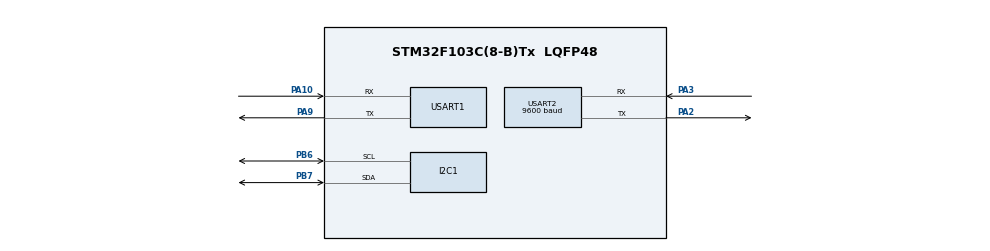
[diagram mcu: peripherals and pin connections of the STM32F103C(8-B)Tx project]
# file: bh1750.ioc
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Mcu.Family=STM32F1
Mcu.Name=STM32F103C(8-B)Tx
Mcu.Package=LQFP48
NVIC.PriorityGroup=NVIC_PRIORITYGROUP_4
NVIC.USART2_IRQn=true\:0\:0\:false\:false\:true\:true\:true\:true
PA10.Mode=Asynchronous
PA10.Signal=USART1_RX
PA13.Mode=Serial_Wire
PA13.Signal=SYS_JTMS-SWDIO
PA14.Mode=Serial_Wire
PA14.Signal=SYS_JTCK-SWCLK
PA2.Mode=Asynchronous
PA2.Signal=USART2_TX
PA3.Mode=Asynchronous
PA3.Signal=USART2_RX
PA9.Mode=Asynchronous
PA9.Signal=USART1_TX
PB6.Mode=I2C
PB6.Signal=I2C1_SCL
PB7.Mode=I2C
PB7.Signal=I2C1_SDA
PD0-OSC_IN.Mode=HSE-External-Oscillator
PD0-OSC_IN.Signal=RCC_OSC_IN
PD1-OSC_OUT.Mode=HSE-External-Oscillator
PD1-OSC_OUT.Signal=RCC_OSC_OUT
ProjectManager.HeapSize=0x200
ProjectManager.StackSize=0x400
ProjectManager.TargetToolchain=MDK-ARM V5.32
RCC.APB1Freq_Value=8000000
RCC.APB2Freq_Value=8000000
USART1.VirtualMode=VM_ASYNC
USART2.BaudRate=9600
USART2.VirtualMode=VM_ASYNC
board=custom

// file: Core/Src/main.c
/* USER CODE BEGIN Header */
/**
  ******************************************************************************
  * @file           : main.c
  * @brief          : Node 2 - BH1750 Light Sensor - LoRa Gateway Protocol
  ******************************************************************************
  */
/* USER CODE END Header */
#include "main.h"

/* USER CODE BEGIN Includes */
#include "stdarg.h"
#include "string.h"
#include "stdio.h"
/* USER CODE END Includes */

/* USER CODE BEGIN PTD */
#define BH1750_ADDRESS      (0x23 << 1)   // ADDR pin = LOW
#define BH1750_POWER_ON     0x01
#define BH1750_RESET        0x07
#define BH1750_CONT_HI_RES  0x10          // Che do do lien tuc, do phan giai cao (1 lux)
/* USER CODE END PTD */

/* USER CODE BEGIN PD */
#define NODE_ID  2   // <-- Day la Node 2 (BH1750)
/* USER CODE END PD */

I2C_HandleTypeDef hi2c1;
UART_HandleTypeDef huart1;
UART_HandleTypeDef huart2;

void SystemClock_Config(void);
static void MX_GPIO_Init(void);
static void MX_USART1_UART_Init(void);
static void MX_USART2_UART_Init(void);
static void MX_I2C1_Init(void);
/* USER CODE BEGIN PFP */

/* ---------- Debug print qua UART1 (Serial monitor may tinh) ---------- */
char buff[60];
void mPrint(const char* format, ...) {
    va_list args;
    va_start(args, format);
    vsnprintf(buff, sizeof(buff), format, args);
    va_end(args);
    HAL_UART_Transmit(&huart1, (uint8_t*)buff, strlen(buff), 1000);
}

/* ---------- BH1750 functions ---------- */
void BH1750_Init(void) {
    uint8_t cmd;
    cmd = BH1750_POWER_ON;
    HAL_I2C_Master_Transmit(&hi2c1, BH1750_ADDRESS, &cmd, 1, HAL_MAX_DELAY);
    HAL_Delay(10);
    cmd = BH1750_CONT_HI_RES;
    HAL_I2C_Master_Transmit(&hi2c1, BH1750_ADDRESS, &cmd, 1, HAL_MAX_DELAY);
    HAL_Delay(150);  // Cho lan do dau tien hoan thanh (~120ms)
}

float BH1750_ReadLight(void) {
    uint8_t buffer[2] = {0, 0};
    if (HAL_I2C_Master_Receive(&hi2c1, BH1750_ADDRESS, buffer, 2, 100) == HAL_OK) {
        uint16_t val = (buffer[0] << 8) | buffer[1];
        return (float)val / 1.2f;
    }
    return -1.0f;
}

/* USER CODE END PFP */

/* USER CODE BEGIN 0 */

/* ---------- Bien phuc vu nhan lenh tu Gateway qua UART2 (LoRa) ---------- */
uint8_t rx_byte;          // Nhan tung byte mot qua ngat
char    rx_buffer[20];    // Buffer rap chuoi lenh (VD: "GET_N2")
uint8_t rx_index  = 0;
uint8_t cmd_ready = 0;    // Co bao hieu da nhan xong mot lenh

char    lora_tx_buffer[30]; // Buffer gui phan hoi

/* USER CODE END 0 */

int main(void)
{

  HAL_Init();

  SystemClock_Config();

  MX_GPIO_Init();
  MX_USART1_UART_Init();
  MX_USART2_UART_Init();
  MX_I2C1_Init();

  /* USER CODE BEGIN 2 */
  BH1750_Init();

  // Bat ngat UART2 de lang nghe lenh tu Gateway
  HAL_UART_Receive_IT(&huart2, &rx_byte, 1);
  mPrint("Node %d (BH1750) Ready. Listening for Gateway...\r\n", NODE_ID);
  /* USER CODE END 2 */

  /* Infinite loop */
  /* USER CODE BEGIN WHILE */
  while (1)
  {
      // Neu co lenh gui den tu Gateway
      if (cmd_ready == 1)
      {
          cmd_ready = 0; // Tat co de tranh xu ly lap lai

          // Tao chuoi lenh mong doi (Node 2 mong nhan "GET_N2")
          char expected_cmd[12];
          sprintf(expected_cmd, "GET_N%d", NODE_ID);

          // Kiem tra lenh co dung ten minh khong (dung strstr de an toan)
          if (strstr(rx_buffer, expected_cmd) != NULL)
          {
              mPrint("Gateway goi: %s. Dang doc cam bien...\r\n", rx_buffer);

              // Doc cam bien BH1750
              float lux = BH1750_ReadLight();

              // Neu doc loi, thu reset va doc lai 1 lan
              if (lux < 0) {
                  mPrint("Loi BH1750, dang reset I2C...\r\n");
                  HAL_I2C_DeInit(&hi2c1);
                  HAL_Delay(10);
                  MX_I2C1_Init();
                  BH1750_Init();
                  lux = BH1750_ReadLight();
              }

              // Dong goi du lieu va gui tra qua UART2 (LoRa)
              // Dinh dang: N2,<lux>\n
              // Vi STM32 co the tat float trong sprintf, ep kieu sang int
              int lux_i = (lux >= 0) ? (int)lux : -1;
              int lux_d = (lux >= 0) ? (int)((lux - lux_i) * 10) : 0;

              if (lux >= 0) {
                  sprintf(lora_tx_buffer, "N%d,%d.%d\n", NODE_ID, lux_i, lux_d);
              } else {
                  sprintf(lora_tx_buffer, "N%d,-1\n", NODE_ID);
              }

              HAL_UART_Transmit(&huart2, (uint8_t*)lora_tx_buffer, strlen(lora_tx_buffer), 1000);
              mPrint("Da gui: %s\r\n", lora_tx_buffer);
          }
          else
          {
              mPrint("Bo qua lenh: %s (Khong phai toi)\r\n", rx_buffer);
          }

          // Reset buffer chuan bi don lenh tiep theo
          rx_index = 0;
          memset(rx_buffer, 0, sizeof(rx_buffer));
      }

      // STM32 co the lam viec khac o day
      // Viec nhan LoRa da duoc ngat xu ly ngam
    /* USER CODE END WHILE */

  }
}

void SystemClock_Config(void)
{
  RCC_OscInitTypeDef RCC_OscInitStruct = {0};
  RCC_ClkInitTypeDef RCC_ClkInitStruct = {0};

  RCC_OscInitStruct.OscillatorType = RCC_OSCILLATORTYPE_HSI;
  RCC_OscInitStruct.HSIState = RCC_HSI_ON;
  RCC_OscInitStruct.HSICalibrationValue = RCC_HSICALIBRATION_DEFAULT;
  RCC_OscInitStruct.PLL.PLLState = RCC_PLL_NONE;
  if (HAL_RCC_OscConfig(&RCC_OscInitStruct) != HAL_OK)
  {
    Error_Handler();
  }

  RCC_ClkInitStruct.ClockType = RCC_CLOCKTYPE_HCLK|RCC_CLOCKTYPE_SYSCLK
                              |RCC_CLOCKTYPE_PCLK1|RCC_CLOCKTYPE_PCLK2;
  RCC_ClkInitStruct.SYSCLKSource = RCC_SYSCLKSOURCE_HSI;
  RCC_ClkInitStruct.AHBCLKDivider = RCC_SYSCLK_DIV1;
  RCC_ClkInitStruct.APB1CLKDivider = RCC_HCLK_DIV1;
  RCC_ClkInitStruct.APB2CLKDivider = RCC_HCLK_DIV1;

  if (HAL_RCC_ClockConfig(&RCC_ClkInitStruct, FLASH_LATENCY_0) != HAL_OK)
  {
    Error_Handler();
  }
}

static void MX_I2C1_Init(void)
{
  hi2c1.Instance = I2C1;
  hi2c1.Init.ClockSpeed = 100000;
  hi2c1.Init.DutyCycle = I2C_DUTYCYCLE_2;
  hi2c1.Init.OwnAddress1 = 0;
  hi2c1.Init.AddressingMode = I2C_ADDRESSINGMODE_7BIT;
  hi2c1.Init.DualAddressMode = I2C_DUALADDRESS_DISABLE;
  hi2c1.Init.OwnAddress2 = 0;
  hi2c1.Init.GeneralCallMode = I2C_GENERALCALL_DISABLE;
  hi2c1.Init.NoStretchMode = I2C_NOSTRETCH_DISABLE;
  if (HAL_I2C_Init(&hi2c1) != HAL_OK)
  {
    Error_Handler();
  }
}

static void MX_USART1_UART_Init(void)
{
  huart1.Instance = USART1;
  huart1.Init.BaudRate = 115200;
  huart1.Init.WordLength = UART_WORDLENGTH_8B;
  huart1.Init.StopBits = UART_STOPBITS_1;
  huart1.Init.Parity = UART_PARITY_NONE;
  huart1.Init.Mode = UART_MODE_TX_RX;
  huart1.Init.HwFlowCtl = UART_HWCONTROL_NONE;
  huart1.Init.OverSampling = UART_OVERSAMPLING_16;
  if (HAL_UART_Init(&huart1) != HAL_OK)
  {
    Error_Handler();
  }
}

static void MX_USART2_UART_Init(void)
{
  huart2.Instance = USART2;
  huart2.Init.BaudRate = 9600;
  huart2.Init.WordLength = UART_WORDLENGTH_8B;
  huart2.Init.StopBits = UART_STOPBITS_1;
  huart2.Init.Parity = UART_PARITY_NONE;
  huart2.Init.Mode = UART_MODE_TX_RX;
  huart2.Init.HwFlowCtl = UART_HWCONTROL_NONE;
  huart2.Init.OverSampling = UART_OVERSAMPLING_16;
  if (HAL_UART_Init(&huart2) != HAL_OK)
  {
    Error_Handler();
  }
}

static void MX_GPIO_Init(void)
{
  __HAL_RCC_GPIOD_CLK_ENABLE();
  __HAL_RCC_GPIOA_CLK_ENABLE();
  __HAL_RCC_GPIOB_CLK_ENABLE();
}

/* USER CODE BEGIN 4 */

/**
  * @brief  Ham ngat UART - Nhan tung byte tu Gateway qua UART2 (LoRa)
  *         Khi nhan xong ki tu '\n', dat co cmd_ready = 1 de main xu ly
  */
void HAL_UART_RxCpltCallback(UART_HandleTypeDef *huart)
{
    if (huart->Instance == USART2)
    {
        if (rx_byte != '\n' && rx_byte != '\r')
        {
            // Luu ki tu vao buffer
            rx_buffer[rx_index++] = rx_byte;
            if (rx_index >= 20) rx_index = 0; // Chong tran bo nho
        }
        else if (rx_index > 0)
        {
            // Nhan xong 1 lenh hoan chinh
            rx_buffer[rx_index] = '\0';  // Null-terminate
            cmd_ready = 1;               // Bao cho main biet
        }

        // Kich hoat lai ngat de tiep tuc lang nghe byte tiep theo
        HAL_UART_Receive_IT(&huart2, &rx_byte, 1);
    }
}

/* USER CODE END 4 */

void Error_Handler(void)
{
  __disable_irq();
  while (1)
  {
  }
}
